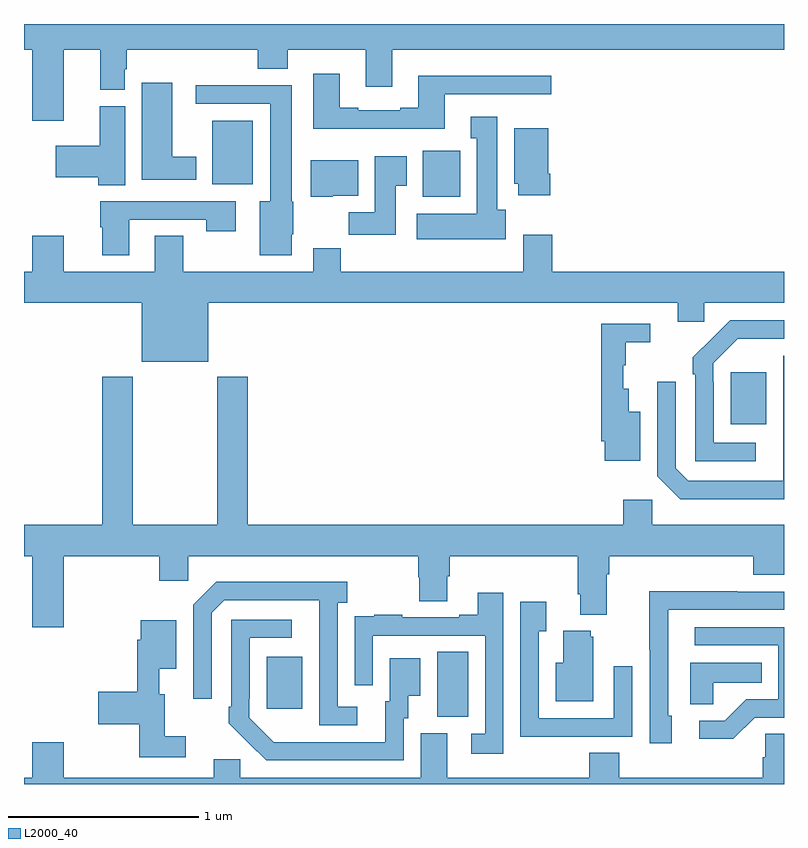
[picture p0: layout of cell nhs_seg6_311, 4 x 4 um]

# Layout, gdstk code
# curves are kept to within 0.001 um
import gdstk
lib = gdstk.Library(unit=1e-6, precision=1e-09)
def R(c, l, rs):  # rectangles x0, y0, x1, y1
    for r in rs: c.add(gdstk.rectangle(r[:2], r[2:], *l))
def P(c, l, *ps):  # polygons
    for p in ps: c.add(gdstk.Polygon(p, *l))
L2000_40 = (2000, 40)

nhs_seg6_311 = lib.new_cell('nhs_seg6_311')
R(nhs_seg6_311, L2000_40, [(131.174,915.853,131.338,916.196), (130.277,915.897,130.465,916.171), (132.719,917.393,132.907,917.668), (131.099,918.59,131.296,918.832), (129.992,918.656,130.204,918.991)])
P(nhs_seg6_311, L2000_40, [(133,919.5),(129,919.5),(129,919.364),(129.044,919.364),(129.044,918.99),(129.208,918.99),(129.208,919.364),(129.401,919.364),(129.401,919.153),(129.529,919.153),(129.529,919.263),(129.542,919.263),(129.542,919.364),(130.229,919.364),(130.229,919.265),(130.389,919.265),(130.389,919.364),(130.799,919.364),(130.799,919.17),(130.939,919.17),(130.939,919.364),(133,919.364)],
  [(131.215,919.131),(131.776,919.131),(131.776,919.228),(131.075,919.228),(131.075,919.06),(130.979,919.06),(130.979,919.047),(130.759,919.047),(130.759,919.06),(130.663,919.06),(130.663,919.237),(130.523,919.237),(130.523,918.95),(131.215,918.95)],
  [(129.907,918.802),(129.781,918.802),(129.781,919.192),(129.62,919.192),(129.62,918.68),(129.907,918.68)],
  [(130.408,918.394),(130.416,918.394),(130.416,918.564),(130.408,918.564),(130.408,919.178),(129.903,919.178),(129.903,919.08),(130.295,919.08),(130.295,918.568),(130.241,918.568),(130.241,918.282),(130.408,918.282)],
  [(129.532,919.068),(129.398,919.068),(129.398,918.859),(129.168,918.859),(129.168,918.694),(129.391,918.694),(129.391,918.652),(129.532,918.652)],
  [(131.536,918.522),(131.491,918.522),(131.491,919.012),(131.351,919.012),(131.351,918.899),(131.384,918.899),(131.384,918.502),(131.067,918.502),(131.067,918.368),(131.536,918.368)],
  [(131.771,918.712),(131.758,918.712),(131.758,918.952),(131.579,918.952),(131.579,918.66),(131.6,918.66),(131.6,918.6),(131.771,918.6)],
  [(130.957,918.649),(131.014,918.649),(131.014,918.805),(130.847,918.805),(130.847,918.508),(130.708,918.508),(130.708,918.39),(130.957,918.39)],
  [(130.626,918.596),(130.759,918.596),(130.759,918.784),(130.508,918.784),(130.508,918.59),(130.626,918.59)],
  [(129.553,918.471),(129.958,918.471),(129.958,918.408),(130.114,918.408),(130.114,918.567),(129.401,918.567),(129.401,918.429),(129.413,918.429),(129.413,918.282),(129.553,918.282)],
  [(129.97,918.032),(132.44,918.032),(132.44,917.934),(132.579,917.934),(132.579,918.032),(133,918.032),(133,918.196),(131.78,918.196),(131.78,918.391),(131.627,918.391),(131.627,918.196),(130.667,918.196),(130.667,918.32),(130.523,918.32),(130.523,918.196),(129.837,918.196),(129.837,918.386),(129.689,918.386),(129.689,918.196),(129.208,918.196),(129.208,918.385),(129.044,918.385),(129.044,918.196),(129,918.196),(129,918.032),(129.62,918.032),(129.62,917.723),(129.97,917.723)],
  [(132.85,917.295),(132.63,917.295),(132.63,917.615),(132.627,917.615),(132.627,917.715),(132.756,917.844),(133,917.844),(133,917.94),(132.716,917.94),(132.519,917.745),(132.519,917.657),(132.534,917.657),(132.534,917.199),(132.85,917.199)],
  [(132.244,917.458),(132.184,917.458),(132.184,917.581),(132.155,917.581),(132.155,917.703),(132.166,917.703),(132.166,917.824),(132.295,917.824),(132.295,917.922),(132.037,917.922),(132.037,917.305),(132.056,917.305),(132.056,917.201),(132.244,917.201)],
  [(133,917.754),(132.996,917.754),(132.996,917.297),(132.995,917.297),(132.995,917.097),(132.495,917.097),(132.429,917.163),(132.429,917.617),(132.333,917.617),(132.333,917.121),(132.454,917),(133,917)],
  [(129.208,916.7),(129.713,916.7),(129.713,916.569),(129.864,916.569),(129.864,916.7),(131.075,916.7),(131.075,916.587),(131.08,916.587),(131.08,916.462),(131.227,916.462),(131.227,916.594),(131.24,916.594),(131.24,916.7),(131.915,916.7),(131.915,916.498),(131.927,916.498),(131.927,916.391),(132.067,916.391),(132.067,916.604),(132.08,916.604),(132.08,916.7),(132.839,916.7),(132.839,916.601),(133,916.601),(133,916.864),(132.306,916.864),(132.306,916.996),(132.155,916.996),(132.155,916.864),(130.178,916.864),(130.178,917.644),(130.018,917.644),(130.018,916.864),(129.573,916.864),(129.573,917.644),(129.413,917.644),(129.413,916.864),(129,916.864),(129,916.7),(129.044,916.7),(129.044,916.326),(129.208,916.326)],
  [(130.753,915.906),(130.65,915.906),(130.65,916.454),(130.702,916.454),(130.702,916.564),(130.012,916.564),(129.891,916.443),(129.891,915.948),(129.987,915.948),(129.987,916.401),(130.053,916.467),(130.553,916.467),(130.554,915.81),(130.753,915.81)],
  [(132.409,915.858),(132.39,915.858),(132.39,916.416),(133,916.416),(133,916.512),(132.755,916.512),(132.755,916.514),(132.292,916.514),(132.292,916.207),(132.294,916.207),(132.294,915.714),(132.409,915.714)],
  [(131.523,916.507),(131.387,916.507),(131.387,916.39),(131.291,916.39),(131.291,916.377),(130.991,916.377),(130.991,916.39),(130.843,916.39),(130.843,916.383),(130.741,916.383),(130.741,916.274),(130.74,916.274),(130.74,916.02),(130.836,916.02),(130.836,916.281),(131.427,916.281),(131.427,915.765),(131.355,915.765),(131.355,915.66),(131.523,915.66)],
  [(131.885,915.75),(132.201,915.75),(132.201,916.12),(132.105,916.12),(132.105,915.846),(131.709,915.846),(131.709,916.303),(131.749,916.303),(131.749,916.459),(131.613,916.459),(131.613,915.749),(131.885,915.749)],
  [(130.998,915.846),(131.023,915.846),(131.023,915.965),(131.086,915.965),(131.086,916.162),(130.925,916.162),(130.925,915.936),(130.901,915.936),(130.901,915.72),(130.314,915.721),(130.185,915.849),(130.185,915.949),(130.188,915.949),(130.188,916.269),(130.408,916.269),(130.408,916.365),(130.092,916.365),(130.092,915.907),(130.077,915.907),(130.077,915.819),(130.274,915.624),(130.998,915.624)],
  [(129.852,915.751),(129.742,915.751),(129.742,915.973),(129.713,915.973),(129.713,916.106),(129.802,916.106),(129.802,916.363),(129.614,916.363),(129.614,916.259),(129.595,916.259),(129.595,915.986),(129.39,915.986),(129.39,915.815),(129.607,915.815),(129.607,915.642),(129.852,915.642)],
  [(132.846,915.849),(133,915.849),(133,916.326),(132.531,916.326),(132.531,916.23),(132.969,916.23),(132.969,915.945),(132.8,915.945),(132.689,915.834),(132.555,915.834),(132.555,915.737),(132.733,915.737)],
  [(131.995,916.275),(131.984,916.275),(131.984,916.306),(131.837,916.306),(131.837,916.138),(131.798,916.138),(131.798,915.935),(131.995,915.935)],
  [(132.627,916.034),(132.884,916.034),(132.884,916.138),(132.506,916.138),(132.506,915.919),(132.627,915.919)],
  [(133,915.764),(132.9,915.764),(132.9,915.641),(132.887,915.641),(132.887,915.532),(132.134,915.532),(132.134,915.665),(131.974,915.665),(131.974,915.532),(131.227,915.532),(131.227,915.768),(131.087,915.768),(131.087,915.532),(130.137,915.532),(130.137,915.63),(129.998,915.63),(129.998,915.532),(129.208,915.532),(129.208,915.721),(129.044,915.721),(129.044,915.532),(129,915.532),(129,915.5),(133,915.5)])

lib.write_gds('nhs_seg6_311.gds')
